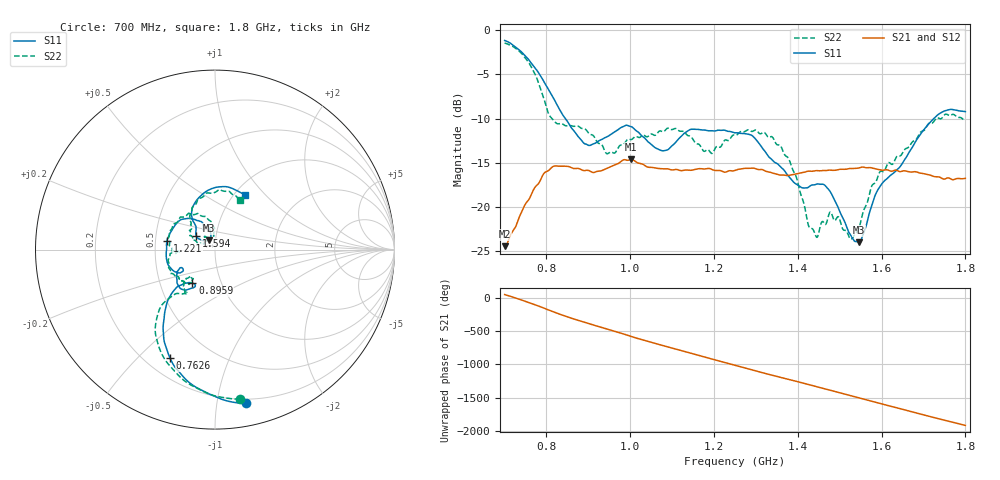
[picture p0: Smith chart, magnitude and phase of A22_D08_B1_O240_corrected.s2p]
! Created with skrf 1.9.0 (http://scikit-rf.org).
# Hz S RI R 50.0
!freq ReS11 ImS11 ReS21 ImS21 ReS12 ImS12 ReS22 ImS22
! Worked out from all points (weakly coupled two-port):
!   1601 points, 700 MHz to 1.8 GHz, reference 50 ohm
!   highest |S21| = -14.62 dB at 1.002 GHz (marker M1); lowest = -24.4 dB at 700.7 MHz (marker M2)
!   lowest |S11| = -24.0 dB at 1.546 GHz (marker M3), VSWR 1.13, Z = 46.4 + j4.89 ohm
!   |S11| at or under -10 dB: 845.1 MHz to 1.724 GHz (879.4 MHz wide, 68.4 % of centre)
!   |S22| runs from -23.6 to -1.5 dB; largest |S21 - S12| = 0.0036
!   S11 on the Smith chart (normalised r, x): 700 MHz: 0.17, -1.21; 762.6 MHz: 0.30, -0.63; 895.9 MHz: 0.73, -0.29; 1.221 GHz: 0.58, +0.06; 1.594 GHz: 0.80, +0.12; 1.8 GHz: 1.11, +0.77
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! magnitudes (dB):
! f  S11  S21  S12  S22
! 700 MHz  -1.2  -24.4  -24.2  -1.5
! 700.7 MHz  -1.2  -24.4  -24.1  -1.5
! 762.6 MHz  -3.7  -18.7  -18.7  -4.1
! 811.4 MHz  -7.3  -15.6  -15.5  -9.9
! 883.6 MHz  -12.5  -15.8  -15.7  -11.1
! 895.9 MHz  -12.9  -15.8  -15.9  -11.4
! 945.4 MHz  -12.0  -15.6  -15.6  -14.0
! 1.002 GHz  -10.9  -14.6  -14.7  -12.4
! 1.067 GHz  -13.5  -15.6  -15.6  -11.5
! 1.194 GHz  -11.4  -15.7  -15.7  -13.9
! 1.221 GHz  -11.3  -16.0  -16.0  -12.8
! 1.25 GHz  -11.6  -15.9  -15.8  -11.9
! 1.359 GHz  -15.5  -16.4  -16.4  -13.1
! 1.395 GHz  -17.4  -16.3  -16.3  -16.4
! 1.434 GHz  -17.5  -16.0  -15.9  -22.4
! 1.471 GHz  -17.9  -15.8  -15.8  -21.3
! 1.526 GHz  -23.2  -15.6  -15.6  -23.6
! 1.546 GHz  -24.0  -15.6  -15.6  -22.3
! 1.594 GHz  -17.8  -15.8  -15.8  -16.1
! 1.617 GHz  -16.6  -15.9  -15.8  -15.0
! 1.732 GHz  -9.7  -16.6  -16.6  -9.9
! 1.8 GHz  -9.2  -16.8  -16.8  -10.2
